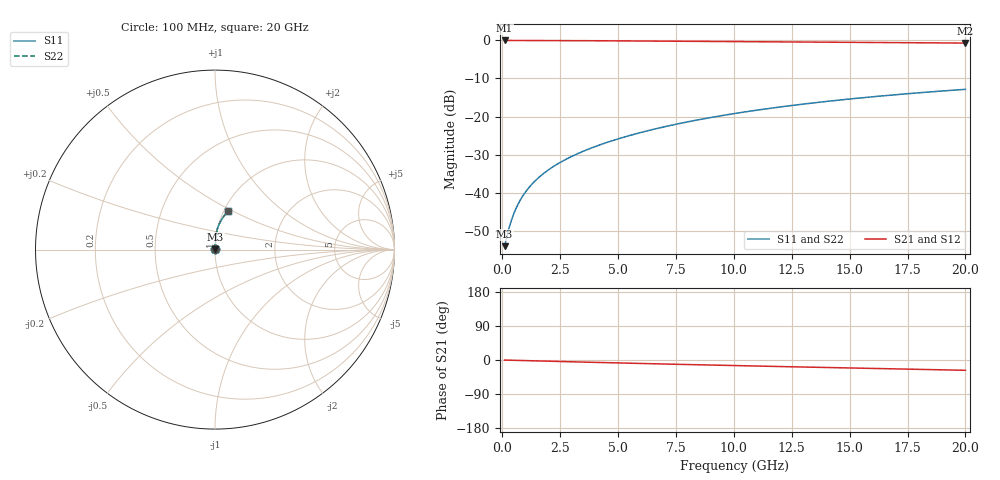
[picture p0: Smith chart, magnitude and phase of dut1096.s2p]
! Touchstone file exported from HFSS 2024.1.0
!  File:  C:/UserFiles/LocalFiles/RDL_TSV_Batchsim/temp_RDL_top_1096_1780046192.aedt
!  Generated:  05:18:24 PM May 29, 2026
!  Design:  RDL_top
!  Project:  temp_RDL_top_1096_1780046192
!  Setup:  Setup1
!  Solution:  Sweep
! Variables:
!  dtsv = 10.80580581um
!  hbump = 3um
!  htsv = 72.02um
!  ldown = 100um
!  lrdl = 421.42um
!  p = 40
!  p1 = 40.16um
!  rhole = 1um
!  t = 450um
!  tdown = 3.915915916um
!  trdl = 4.79um
!  wdown = 15.38538539um
!  wrdl = 21.58um
# GHz S MA R 50.000000
! Terminal data exported
! Port[1] = Box2_T1
! Port[2] = Box2_T2
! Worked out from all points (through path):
!   200 points, 100 MHz to 20 GHz, reference 50 ohm
!   highest |S21| = -0.01 dB at 100 MHz (marker M1); lowest = -0.7 dB at 20 GHz (marker M2)
!   group delay of S21, straight-line fit = 3.73 ps
!   lowest |S11| = -54.1 dB at 100 MHz (marker M3), VSWR 1.00, Z = 50.2 + j0.114 ohm
!   |S11| at or under -10 dB: start of sweep to end of sweep
!   |S22| runs from -54.1 to -12.9 dB; largest |S21 - S12| = 2.3e-15
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0.1  0.001979 35.1  0.9984 -0.2  0.9984 -0.2  0.001979 35.1
! Gamma 0 0 0 0
! Port Impedance 50 0 50 0
0.2  0.00267 51.3  0.9982 -0.3  0.9982 -0.3  0.002669 51.3
0.3  0.003494 61.1  0.9981 -0.5  0.9981 -0.5  0.003493 61.2
0.4  0.004389 67.2  0.998 -0.7  0.998 -0.7  0.004389 67.3
0.5  0.005322 71.2  0.9979 -0.8  0.9979 -0.8  0.005321 71.3
0.6  0.006274 74.0  0.9978 -1.0  0.9978 -1.0  0.006274 74.1
0.8  0.008208 77.7  0.9976 -1.3  0.9976 -1.3  0.008209 77.7
1.1  0.01114 80.7  0.9972 -1.8  0.9972 -1.8  0.01114 80.7
1.5  0.01507 82.8  0.9966 -2.4  0.9966 -2.4  0.01507 82.8
1.8  0.01801 83.8  0.9961 -2.9  0.9961 -2.9  0.01801 83.8
2.1  0.02097 84.6  0.9954 -3.4  0.9954 -3.4  0.02097 84.6
2.7  0.02692 85.7  0.9939 -4.3  0.9939 -4.3  0.02692 85.6
3.5  0.035 86.5  0.9915 -5.5  0.9915 -5.5  0.035 86.5
4.2  0.04227 87.0  0.9891 -6.6  0.9891 -6.6  0.04226 87.0
5  0.05081 87.2  0.986 -7.8  0.986 -7.8  0.05081 87.2
6.8  0.07097 86.9  0.9786 -10.3  0.9786 -10.3  0.07096 86.8
8.4  0.08977 85.8  0.9717 -12.5  0.9717 -12.5  0.08975 85.7
10.1  0.1103 84.1  0.9643 -14.8  0.9643 -14.8  0.1103 84.0
11.7  0.1298 82.2  0.9574 -16.9  0.9574 -16.9  0.1298 82.1
13.4  0.1505 80.0  0.9501 -19.1  0.9501 -19.1  0.1505 79.9
16.7  0.19 75.5  0.9363 -23.2  0.9363 -23.2  0.1899 75.4
20  0.2277 71.0  0.9225 -27.2  0.9225 -27.2  0.2276 70.9
